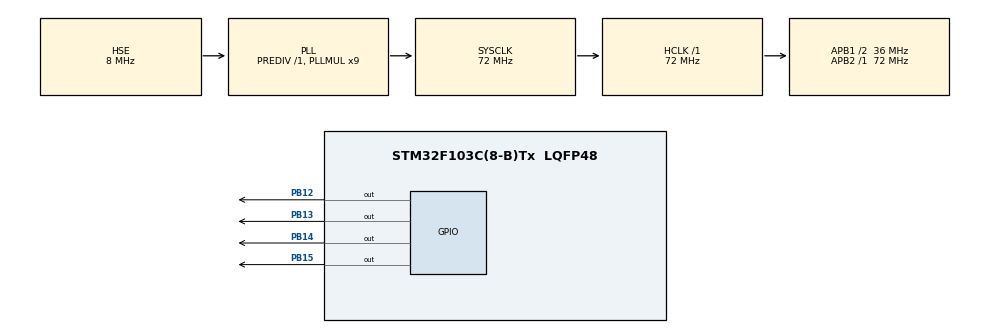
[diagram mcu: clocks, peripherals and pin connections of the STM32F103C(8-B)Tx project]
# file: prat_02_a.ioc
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Mcu.Family=STM32F1
Mcu.Name=STM32F103C(8-B)Tx
Mcu.Package=LQFP48
NVIC.PriorityGroup=NVIC_PRIORITYGROUP_4
PA13.Mode=Serial_Wire
PA13.Signal=SYS_JTMS-SWDIO
PA14.Mode=Serial_Wire
PA14.Signal=SYS_JTCK-SWCLK
PB12.Signal=GPIO_Output
PB13.Signal=GPIO_Output
PB14.Signal=GPIO_Output
PB15.Signal=GPIO_Output
PD0-OSC_IN.Mode=HSE-External-Oscillator
PD0-OSC_IN.Signal=RCC_OSC_IN
PD1-OSC_OUT.Mode=HSE-External-Oscillator
PD1-OSC_OUT.Signal=RCC_OSC_OUT
ProjectManager.HeapSize=0x200
ProjectManager.StackSize=0x400
ProjectManager.TargetToolchain=STM32CubeIDE
RCC.AHBFreq_Value=72000000
RCC.APB1CLKDivider=RCC_HCLK_DIV2
RCC.APB1Freq_Value=36000000
RCC.APB1TimFreq_Value=72000000
RCC.APB2Freq_Value=72000000
RCC.APB2TimFreq_Value=72000000
RCC.HCLKFreq_Value=72000000
RCC.PLLMUL=RCC_PLL_MUL9
RCC.PLLSourceVirtual=RCC_PLLSOURCE_HSE
RCC.SYSCLKFreq_VALUE=72000000
RCC.SYSCLKSource=RCC_SYSCLKSOURCE_PLLCLK
RCC.USBFreq_Value=72000000
board=custom

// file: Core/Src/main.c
/* USER CODE BEGIN Header */
/**
  ******************************************************************************
  * @file           : main.c
  * @brief          : Main program body
  ******************************************************************************
  * @attention
  *
  * <h2><center>&copy; Copyright (c) 2021 STMicroelectronics.
  * All rights reserved.</center></h2>
  *
  * This software component is licensed by ST under BSD 3-Clause license,
  * the "License"; You may not use this file except in compliance with the
  * License. You may obtain a copy of the License at:
  *                        opensource.org/licenses/BSD-3-Clause
  *
  ******************************************************************************
  */
/* USER CODE END Header */
#include "main.h"

/* USER CODE BEGIN PD */
#define NVZ_D1 12                      // num vezes piscar LED D1
#define DT_D1 100                      // delay do LED D1
#define NVZ_D2 4                       // num vezes piscar LED D2
#define DT_D2 600                      // delay do LED D2
#define NVZ_D3 8                       // num vezes piscar LED D3
#define DT_D3 300                      // delay do LED D3
#define NVZ_D4 2                       // num vezes piscar LED D4
#define DT_D4 1000                     // delay do LED D4
/* USER CODE END PD */

/* USER CODE BEGIN PV */

volatile uint32_t mn_led1, mn_led2, mn_led3, mn_led4;

/* USER CODE END PV */

void SystemClock_Config(void);
static void MX_GPIO_Init(void);

int main(void)
{

  /* MCU Configuration--------------------------------------------------------*/

  /* Reset of all peripherals, Initializes the Flash interface and the Systick. */
  HAL_Init();

  /* Configure the system clock */
  SystemClock_Config();

  /* Initialize all configured peripherals */
  MX_GPIO_Init();
  /* USER CODE BEGIN 2 */
    // para garantir que todos os LEDs começam apagados...
  	HAL_GPIO_WritePin(GPIOB, GPIO_PIN_15, GPIO_PIN_SET); // desliga o LED
  	HAL_GPIO_WritePin(GPIOB, GPIO_PIN_14, GPIO_PIN_SET); // desliga o LED
  	HAL_GPIO_WritePin(GPIOB, GPIO_PIN_13, GPIO_PIN_SET); // desliga o LED
  	HAL_GPIO_WritePin(GPIOB, GPIO_PIN_12, GPIO_PIN_SET); // desliga o LED
    // inicia as variáveis para contar
    /* USER CODE END 2 */

  /* Infinite loop */
  while (1)
  {

    /* USER CODE BEGIN 3 */
	  // repetir o piscar do LED D1
	  	for (int i=0; i<NVZ_D1; i++)
	  	{
	  	  // ligar o LED D1  (DT_D1 ms)
	        HAL_GPIO_WritePin(GPIOB, GPIO_PIN_15, GPIO_PIN_RESET); // liga o LED
	        mn_led1 = HAL_GPIO_ReadPin(GPIOB, GPIO_PIN_15);
	        { HAL_Delay(DT_D1);  }           //Delay DT_D1 ms
	        HAL_GPIO_WritePin(GPIOB, GPIO_PIN_15, GPIO_PIN_SET); // desliga o LED
	        mn_led1 = HAL_GPIO_ReadPin(GPIOB, GPIO_PIN_15);
	        { HAL_Delay(DT_D1);  }           //Delay DT_D1 ms
	  	}

	  	// repetir o piscar do LED D2
	  	for (int i=0; i<NVZ_D2; i++)
	  	{
	  	  // ligar o LED D1  (DT_D1 ms)
	        HAL_GPIO_WritePin(GPIOB, GPIO_PIN_14, GPIO_PIN_RESET); // liga o LED
	        mn_led2 = HAL_GPIO_ReadPin(GPIOB, GPIO_PIN_14);
	        { HAL_Delay(DT_D2);  }           //Delay DT_D2 ms
	        HAL_GPIO_WritePin(GPIOB, GPIO_PIN_14, GPIO_PIN_SET); // desliga o LED
	        mn_led2 = HAL_GPIO_ReadPin(GPIOB, GPIO_PIN_14);
	        { HAL_Delay(DT_D2);  }           //Delay DT_D2 ms
	  	}

	  	// repetir o piscar do LED D3
	  	for (int i=0; i<NVZ_D3; i++)
	  	{
	  	  // ligar o LED D3  (DT_D3 ms)
	        HAL_GPIO_WritePin(GPIOB, GPIO_PIN_13, GPIO_PIN_RESET); // liga o LED
	        mn_led3 = 0;
	        { HAL_Delay(DT_D3);  }           //Delay DT_D3 ms
	        HAL_GPIO_WritePin(GPIOB, GPIO_PIN_13, GPIO_PIN_SET); // desliga o LED
	        mn_led3 = 1;
	        { HAL_Delay(DT_D3);  }           //Delay DT_D3 ms
	  	}

	  	// repetir o piscar do LED D4
	  	for (int i=0; i<NVZ_D4; i++)
	  	{
	  	  // ligar o LED D4  (DT_D4 ms)
	        HAL_GPIO_WritePin(GPIOB, GPIO_PIN_12, GPIO_PIN_RESET); // liga o LED
	        mn_led4 = 0;
	        { HAL_Delay(DT_D4);  }           //Delay DT_D4 ms
	        HAL_GPIO_WritePin(GPIOB, GPIO_PIN_12, GPIO_PIN_SET); // desliga o LED
	        mn_led4 = 1;
	        { HAL_Delay(DT_D4);  }           //Delay DT_D4 ms
	  	}

  }
  /* USER CODE END 3 */
}

void SystemClock_Config(void)
{
  RCC_OscInitTypeDef RCC_OscInitStruct = {0};
  RCC_ClkInitTypeDef RCC_ClkInitStruct = {0};

  /** Initializes the RCC Oscillators according to the specified parameters
  * in the RCC_OscInitTypeDef structure.
  */
  RCC_OscInitStruct.OscillatorType = RCC_OSCILLATORTYPE_HSE;
  RCC_OscInitStruct.HSEState = RCC_HSE_ON;
  RCC_OscInitStruct.HSEPredivValue = RCC_HSE_PREDIV_DIV1;
  RCC_OscInitStruct.HSIState = RCC_HSI_ON;
  RCC_OscInitStruct.PLL.PLLState = RCC_PLL_ON;
  RCC_OscInitStruct.PLL.PLLSource = RCC_PLLSOURCE_HSE;
  RCC_OscInitStruct.PLL.PLLMUL = RCC_PLL_MUL9;
  if (HAL_RCC_OscConfig(&RCC_OscInitStruct) != HAL_OK)
  {
    Error_Handler();
  }
  /** Initializes the CPU, AHB and APB buses clocks
  */
  RCC_ClkInitStruct.ClockType = RCC_CLOCKTYPE_HCLK|RCC_CLOCKTYPE_SYSCLK
                              |RCC_CLOCKTYPE_PCLK1|RCC_CLOCKTYPE_PCLK2;
  RCC_ClkInitStruct.SYSCLKSource = RCC_SYSCLKSOURCE_PLLCLK;
  RCC_ClkInitStruct.AHBCLKDivider = RCC_SYSCLK_DIV1;
  RCC_ClkInitStruct.APB1CLKDivider = RCC_HCLK_DIV2;
  RCC_ClkInitStruct.APB2CLKDivider = RCC_HCLK_DIV1;

  if (HAL_RCC_ClockConfig(&RCC_ClkInitStruct, FLASH_LATENCY_2) != HAL_OK)
  {
    Error_Handler();
  }
}

static void MX_GPIO_Init(void)
{
  GPIO_InitTypeDef GPIO_InitStruct = {0};

  /* GPIO Ports Clock Enable */
  __HAL_RCC_GPIOD_CLK_ENABLE();
  __HAL_RCC_GPIOB_CLK_ENABLE();
  __HAL_RCC_GPIOA_CLK_ENABLE();

  /*Configure GPIO pin Output Level */
  HAL_GPIO_WritePin(GPIOB, GPIO_PIN_12|GPIO_PIN_13|GPIO_PIN_14|GPIO_PIN_15, GPIO_PIN_RESET);

  /*Configure GPIO pins : PB12 PB13 PB14 PB15 */
  GPIO_InitStruct.Pin = GPIO_PIN_12|GPIO_PIN_13|GPIO_PIN_14|GPIO_PIN_15;
  GPIO_InitStruct.Mode = GPIO_MODE_OUTPUT_PP;
  GPIO_InitStruct.Pull = GPIO_NOPULL;
  GPIO_InitStruct.Speed = GPIO_SPEED_FREQ_LOW;
  HAL_GPIO_Init(GPIOB, &GPIO_InitStruct);

}

void Error_Handler(void)
{
  __disable_irq();
  while (1)
  {
  }
}

/************************ (C) COPYRIGHT STMicroelectronics *****END OF FILE****/
